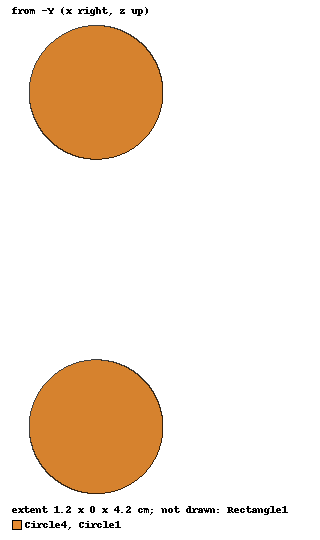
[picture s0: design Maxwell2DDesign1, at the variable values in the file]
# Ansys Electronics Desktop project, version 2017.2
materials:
  vacuum: permittivity=1
  copper: permeability=0.999991 conductivity=58000000
  air: permittivity=1.0006 permeability=1.0000004

design Maxwell2DDesign1 (Maxwell 2D, Magnetostatic, about Z geometry, model units cm)
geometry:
  Circle1 [copper] = circle(normal=Y, centre=(4.2cm, 0cm, 4.2cm), radius=0.6cm)
  Circle4 [copper] = circle(normal=Y, centre=(4.2cm, 0cm, 7.2cm), radius=0.6cm)
  Rectangle1 [air] = rectangle(corner=(7.5cm, 0cm, 10cm), z_size=-10cm, x_size=-7.5cm)
  Polyline1 [non-model] = polyline((3.6cm, 0cm, 3.6cm) (3.6cm, 0cm, 7.8cm))
  Polyline2 [non-model] = polyline((1.8cm, 0cm, 3.6cm) (1.8cm, 0cm, 7.8cm))
  Polyline3 [non-model] = polyline((0.9cm, 0cm, 3.6cm) (0.9cm, 0cm, 7.8cm))
  Polyline4 [non-model] = polyline((5.4cm, 0cm, 3.6cm) (5.4cm, 0cm, 7.8cm))
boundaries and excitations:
  Balloon1: Balloon Edges=Rectangle1.edge(all 4)
  Current_1: Current Objects=Circle1 Current=100A IsPositive=true
  Current_2: Current Objects=Circle4 Current=100A IsPositive=true
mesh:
  initial mesh: GlobalSurfApproximation{CurvedSurfaceApproxChoice=UseSlider SliderMeshSettings=9} MeshMethod=AnsoftClassic
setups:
  Setup1: Magnetostatic MaximumPasses=10 MinimumPasses=2 MinimumConvergedPasses=1 PercentRefinement=30 PercentError=1 NonLinearResidual=0.0001
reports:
  XY Plot 1: Mag_B, Mag_B, Mag_B, Mag_B vs Distance on Setup1 : LastAdaptive
